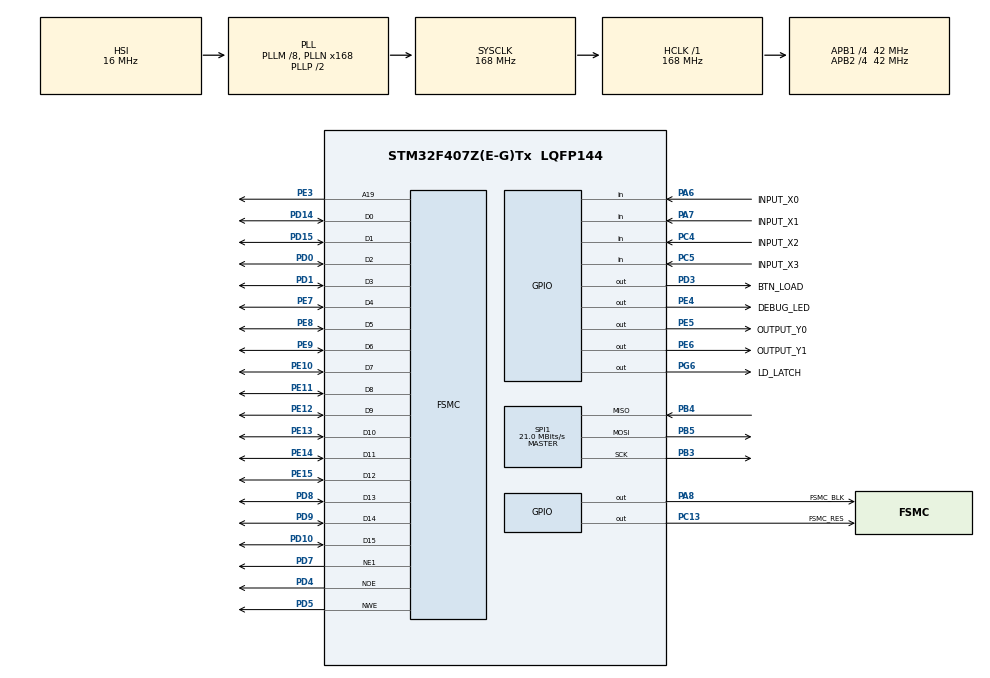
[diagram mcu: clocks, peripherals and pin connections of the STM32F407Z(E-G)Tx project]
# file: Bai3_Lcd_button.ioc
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FSMC.AddressSetupTime1=0xf
FSMC.BusTurnAroundDuration1=0
FSMC.DataSetupTime1=60
FSMC.ExtendedAddressSetupTime1=8
FSMC.ExtendedBusTurnAroundDuration1=0
FSMC.ExtendedDataSetupTime1=9
FSMC.ExtendedMode1=FSMC_EXTENDED_MODE_ENABLE
Mcu.Family=STM32F4
Mcu.Name=STM32F407Z(E-G)Tx
Mcu.Package=LQFP144
NVIC.PriorityGroup=NVIC_PRIORITYGROUP_4
NVIC.TIM2_IRQn=true\:0\:0\:false\:false\:true\:true\:true\:true
PA13.Mode=Serial_Wire
PA13.Signal=SYS_JTMS-SWDIO
PA14.Mode=Serial_Wire
PA14.Signal=SYS_JTCK-SWCLK
PA6.GPIO_Label=INPUT_X0
PA6.Signal=GPIO_Input
PA7.GPIO_Label=INPUT_X1
PA7.Signal=GPIO_Input
PA8.GPIO_Label=FSMC_BLK
PA8.Signal=GPIO_Output
PB3.Mode=Full_Duplex_Master
PB3.Signal=SPI1_SCK
PB4.Mode=Full_Duplex_Master
PB4.Signal=SPI1_MISO
PB5.Mode=Full_Duplex_Master
PB5.Signal=SPI1_MOSI
PC13-ANTI_TAMP.GPIO_Label=FSMC_RES
PC13-ANTI_TAMP.Signal=GPIO_Output
PC4.GPIO_Label=INPUT_X2
PC4.Signal=GPIO_Input
PC5.GPIO_Label=INPUT_X3
PC5.Signal=GPIO_Input
PD0.Signal=FSMC_D2_DA2
PD1.Signal=FSMC_D3_DA3
PD10.Signal=FSMC_D15_DA15
PD14.Signal=FSMC_D0_DA0
PD15.Signal=FSMC_D1_DA1
PD3.GPIO_Label=BTN_LOAD
PD3.Signal=GPIO_Output
PD4.Signal=FSMC_NOE
PD5.Signal=FSMC_NWE
PD7.Mode=NorPsramChipSelect1_1
PD7.Signal=FSMC_NE1
PD8.Signal=FSMC_D13_DA13
PD9.Signal=FSMC_D14_DA14
PE10.Signal=FSMC_D7_DA7
PE11.Signal=FSMC_D8_DA8
PE12.Signal=FSMC_D9_DA9
PE13.Signal=FSMC_D10_DA10
PE14.Signal=FSMC_D11_DA11
PE15.Signal=FSMC_D12_DA12
PE3.Signal=FSMC_A19
PE4.GPIO_Label=DEBUG_LED
PE4.Signal=GPIO_Output
PE5.GPIO_Label=OUTPUT_Y0
PE5.Signal=GPIO_Output
PE6.GPIO_Label=OUTPUT_Y1
PE6.Signal=GPIO_Output
PE7.Signal=FSMC_D4_DA4
PE8.Signal=FSMC_D5_DA5
PE9.Signal=FSMC_D6_DA6
PG6.GPIO_Label=LD_LATCH
PG6.Signal=GPIO_Output
PH0-OSC_IN.Mode=HSE-External-Oscillator
PH0-OSC_IN.Signal=RCC_OSC_IN
PH1-OSC_OUT.Mode=HSE-External-Oscillator
PH1-OSC_OUT.Signal=RCC_OSC_OUT
ProjectManager.HeapSize=0x200
ProjectManager.StackSize=0x400
ProjectManager.TargetToolchain=STM32CubeIDE
RCC.48MHZClocksFreq_Value=84000000
RCC.AHBFreq_Value=168000000
RCC.APB1CLKDivider=RCC_HCLK_DIV4
RCC.APB1Freq_Value=42000000
RCC.APB1TimFreq_Value=84000000
RCC.APB2CLKDivider=RCC_HCLK_DIV4
RCC.APB2Freq_Value=42000000
RCC.APB2TimFreq_Value=84000000
RCC.CortexFreq_Value=168000000
RCC.HCLKFreq_Value=168000000
RCC.HSE_VALUE=8000000
RCC.HSI_VALUE=16000000
RCC.LSE_VALUE=32768
RCC.PLLM=8
RCC.PLLN=168
RCC.SYSCLKFreq_VALUE=168000000
RCC.SYSCLKSource=RCC_SYSCLKSOURCE_PLLCLK
RCC.VCOOutputFreq_Value=336000000
SH.FSMC_A19.0=FSMC_A19,A19_1
SH.FSMC_D0_DA0.0=FSMC_D0,16b-d1
SH.FSMC_D10_DA10.0=FSMC_D10,16b-d1
SH.FSMC_D11_DA11.0=FSMC_D11,16b-d1
SH.FSMC_D12_DA12.0=FSMC_D12,16b-d1
SH.FSMC_D13_DA13.0=FSMC_D13,16b-d1
SH.FSMC_D14_DA14.0=FSMC_D14,16b-d1
SH.FSMC_D15_DA15.0=FSMC_D15,16b-d1
SH.FSMC_D1_DA1.0=FSMC_D1,16b-d1
SH.FSMC_D2_DA2.0=FSMC_D2,16b-d1
SH.FSMC_D3_DA3.0=FSMC_D3,16b-d1
SH.FSMC_D4_DA4.0=FSMC_D4,16b-d1
SH.FSMC_D5_DA5.0=FSMC_D5,16b-d1
SH.FSMC_D6_DA6.0=FSMC_D6,16b-d1
SH.FSMC_D7_DA7.0=FSMC_D7,16b-d1
SH.FSMC_D8_DA8.0=FSMC_D8,16b-d1
SH.FSMC_D9_DA9.0=FSMC_D9,16b-d1
SH.FSMC_NOE.0=FSMC_NOE,Lcd1
SH.FSMC_NWE.0=FSMC_NWE,Lcd1
SPI1.BaudRatePrescaler=SPI_BAUDRATEPRESCALER_2
SPI1.CalculateBaudRate=21.0 MBits/s
SPI1.Direction=SPI_DIRECTION_2LINES
SPI1.Mode=SPI_MODE_MASTER
SPI1.VirtualType=VM_MASTER
TIM2.Period=100-1
TIM2.Prescaler=840-1
VP_TIM2_VS_ClockSourceINT.Mode=Internal
board=custom

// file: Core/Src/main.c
/* USER CODE BEGIN Header */
/**
  ******************************************************************************
  * @file           : main.c
  * @brief          : Main program body
  ******************************************************************************
  * @attention
  *
  * <h2><center>&copy; Copyright (c) 2023 STMicroelectronics.
  * All rights reserved.</center></h2>
  *
  * This software component is licensed by ST under BSD 3-Clause license,
  * the "License"; You may not use this file except in compliance with the
  * License. You may obtain a copy of the License at:
  *                        opensource.org/licenses/BSD-3-Clause
  *
  ******************************************************************************
  */
/* USER CODE END Header */
#include "main.h"
#include "spi.h"
#include "tim.h"
#include "gpio.h"
#include "fsmc.h"

/* USER CODE BEGIN Includes */
#include "software_timer.h"
#include "led_7seg.h"
#include "button.h"
#include "lcd.h"
#include "picture.h"
#include "global.h"
#include "fsm_simple_buttons_run.h"
/* USER CODE END Includes */

void SystemClock_Config(void);
/* USER CODE BEGIN PFP */
void system_init();
void test_LedDebug();
void test_LedY0();
void test_LedY1();
void test_7seg();
void test_button();
void test_lcd();
void test_leftSet();
void test_rightSet();
void change_mode();
void mode2();
/* USER CODE END PFP */

uint8_t mode = 0;
uint8_t red_seconds = 5;
uint8_t green_seconds = 3;
uint8_t yellow_seconds = 1;
int main(void)
{

  /* MCU Configuration--------------------------------------------------------*/

  /* Reset of all peripherals, Initializes the Flash interface and the Systick. */
  HAL_Init();

  /* Configure the system clock */
  SystemClock_Config();

  /* Initialize all configured peripherals */
  MX_GPIO_Init();
  MX_TIM2_Init();
  MX_SPI1_Init();
  MX_FSMC_Init();
  /* USER CODE BEGIN 2 */
  system_init();
  lcd_Clear(WHITE);
//  test_lcd();
  /* USER CODE END 2 */

  /* Infinite loop */
  /* USER CODE BEGIN WHILE */

  while (1)
  {
	  while(!flag_timer2);
	  flag_timer2 = 0;
	  fsm_simple_buttons_run();

// 	  test_button();
// //	  test_LedDebug();
// //	  test_LedY0();
// //	  test_LedY1();
// 	  if(mode == 0){

// 		  test_leftSet();
// //		  test_rightSet();
// 	  }
// 	  if(mode == 1){
// 		  mode2();
// 	  }
//	  test_7seg();
//	  if(button_count[0]%40 == 1)
//	  {
//		  HAL_GPIO_TogglePin(DEBUG_LED_GPIO_Port, DEBUG_LED_Pin);
//	  }
    /* USER CODE END WHILE */

  }
}

void SystemClock_Config(void)
{
  RCC_OscInitTypeDef RCC_OscInitStruct = {0};
  RCC_ClkInitTypeDef RCC_ClkInitStruct = {0};

  /** Configure the main internal regulator output voltage
  */
  __HAL_RCC_PWR_CLK_ENABLE();
  __HAL_PWR_VOLTAGESCALING_CONFIG(PWR_REGULATOR_VOLTAGE_SCALE1);
  /** Initializes the RCC Oscillators according to the specified parameters
  * in the RCC_OscInitTypeDef structure.
  */
  RCC_OscInitStruct.OscillatorType = RCC_OSCILLATORTYPE_HSI;
  RCC_OscInitStruct.HSIState = RCC_HSI_ON;
  RCC_OscInitStruct.HSICalibrationValue = RCC_HSICALIBRATION_DEFAULT;
  RCC_OscInitStruct.PLL.PLLState = RCC_PLL_ON;
  RCC_OscInitStruct.PLL.PLLSource = RCC_PLLSOURCE_HSI;
  RCC_OscInitStruct.PLL.PLLM = 8;
  RCC_OscInitStruct.PLL.PLLN = 168;
  RCC_OscInitStruct.PLL.PLLP = RCC_PLLP_DIV2;
  RCC_OscInitStruct.PLL.PLLQ = 4;
  if (HAL_RCC_OscConfig(&RCC_OscInitStruct) != HAL_OK)
  {
    Error_Handler();
  }
  /** Initializes the CPU, AHB and APB buses clocks
  */
  RCC_ClkInitStruct.ClockType = RCC_CLOCKTYPE_HCLK|RCC_CLOCKTYPE_SYSCLK
                              |RCC_CLOCKTYPE_PCLK1|RCC_CLOCKTYPE_PCLK2;
  RCC_ClkInitStruct.SYSCLKSource = RCC_SYSCLKSOURCE_PLLCLK;
  RCC_ClkInitStruct.AHBCLKDivider = RCC_SYSCLK_DIV1;
  RCC_ClkInitStruct.APB1CLKDivider = RCC_HCLK_DIV4;
  RCC_ClkInitStruct.APB2CLKDivider = RCC_HCLK_DIV4;

  if (HAL_RCC_ClockConfig(&RCC_ClkInitStruct, FLASH_LATENCY_5) != HAL_OK)
  {
    Error_Handler();
  }
}

/* USER CODE BEGIN 4 */
void system_init(){
	  HAL_GPIO_WritePin(OUTPUT_Y0_GPIO_Port, OUTPUT_Y0_Pin, 0);
	  HAL_GPIO_WritePin(OUTPUT_Y1_GPIO_Port, OUTPUT_Y1_Pin, 0);
	  HAL_GPIO_WritePin(DEBUG_LED_GPIO_Port, DEBUG_LED_Pin, 0);
	  timer_init();
	  led7_init();
	  button_init();
	  lcd_init();
	  setTimer2(50);
}

uint8_t count_led_debug = 0;
uint8_t count_led_Y0 = 0;
uint8_t count_led_Y1 = 0;
int count_left = 0;
uint8_t count_right = 0;
uint8_t left_status = 0;
uint8_t count_red_editing = 0;

void test_LedDebug(){
	count_led_debug = (count_led_debug + 1)%20;
	if(count_led_debug == 0){
		HAL_GPIO_TogglePin(DEBUG_LED_GPIO_Port, DEBUG_LED_Pin);
	}
}

void test_LedY0(){
	count_led_Y0 = (count_led_Y0+ 1)%100;
	if(count_led_Y0 > 40){
		HAL_GPIO_WritePin(OUTPUT_Y0_GPIO_Port, OUTPUT_Y0_Pin, 1);
	} else {
		HAL_GPIO_WritePin(OUTPUT_Y0_GPIO_Port, OUTPUT_Y0_Pin, 0);
	}
}

void test_LedY1(){
	count_led_Y1 = (count_led_Y1+ 1)%40;
	if(count_led_Y1 > 10){
		HAL_GPIO_WritePin(OUTPUT_Y1_GPIO_Port, OUTPUT_Y1_Pin, 0);
	} else {
		HAL_GPIO_WritePin(OUTPUT_Y0_GPIO_Port, OUTPUT_Y1_Pin, 1);
	}
}

void test_7seg(){
	led7_SetDigit(0, 0, 0);
	led7_SetDigit(5, 1, 0);
	led7_SetDigit(4, 2, 0);
	led7_SetDigit(7, 3, 0);
}
void test_button(){
	for(int i = 0; i < 16; i++){
		if(button_count[i] == 1){
//			change_mode();
			lcd_ShowIntNum(140, 105, i, 2, BRED, WHITE, 32);
			if (i > 9)
			{
				led7_SetDigit(1, 0, 0);
				led7_SetDigit(i%10, 1, 0);
			}
			else{
				led7_SetDigit(0, 0, 0);
				led7_SetDigit(i, 1, 0);
			}
		}
	}
}
void test_lcd(){
	lcd_Fill(0, 0, 240, 20, BLUE);
	lcd_StrCenter(0, 2, "Hello World !!!", RED, BLUE, 16, 1);
//	lcd_ShowStr(20, 30, "Test lcd screen", WHITE, RED, 24, 0);
	lcd_DrawCircle(60, 120, GREEN, 20, 1);
	lcd_DrawCircle(160, 120, RED, 20, 1);
	lcd_DrawCircle(60, 200, GREEN, 20, 1);
	lcd_DrawCircle(160, 200, RED, 20, 1);
	lcd_DrawCircle(60, 280, GREEN, 20, 1);
	lcd_DrawCircle(160, 280, RED, 20, 1);
//	lcd_ShowPicture(80, 200, 90, 90, gImage_logo);
}

void test_leftSet()
{
	int total_time_count = red_seconds*20 + green_seconds*20 + yellow_seconds*20;
	int red_count = red_seconds*20;
	int green_count = green_seconds*20;
	lcd_ShowIntNum(160, 2, red_count, 4, BRED, WHITE, 32);
	lcd_ShowIntNum(100, 2, total_time_count, 4, BRED, WHITE, 32);

	count_left = (count_left + 1) % total_time_count;
	lcd_ShowIntNum(50, 2, count_left, 4, BRED, WHITE, 32);
	if(count_left < red_count)
	{
		lcd_DrawCircle(60, 200, WHITE, 20, 1);
		lcd_DrawCircle(60, 120, RED, 20, 1);
		lcd_DrawCircle(60, 200, YELLOW, 20, 0);
		lcd_DrawCircle(60, 280, GREEN, 20, 0);
		return;
	}
	if(count_left >= red_count && count_left < (red_count + green_count)){
		lcd_DrawCircle(60, 120, WHITE, 20, 1);
		lcd_DrawCircle(60, 120, RED, 20, 0);
		lcd_DrawCircle(60, 200, YELLOW, 20, 0);
		lcd_DrawCircle(60, 280, GREEN, 20, 1);
		return;
	}
	lcd_DrawCircle(60, 280, WHITE, 20, 1);
	lcd_DrawCircle(60, 120, RED, 20, 0);
	lcd_DrawCircle(60, 200, YELLOW, 20, 1);
	lcd_DrawCircle(60, 280, GREEN, 20, 0);
}

void test_rightSet()
{
	uint8_t total_time_count = red_seconds*20 + green_seconds*20 + yellow_seconds*20;
		uint8_t green_count = green_seconds*20;
		uint8_t yellow_count = yellow_seconds*20;
		count_right = (count_right + 1) % total_time_count;
		if(count_right < green_count)
		{
			lcd_DrawCircle(160, 120, WHITE, 20, 1);
			lcd_DrawCircle(160, 120, RED, 20, 0);
			lcd_DrawCircle(160, 200, YELLOW, 20, 0);
			lcd_DrawCircle(160, 280, GREEN, 20, 1);
			return;
		}
		if(count_right >= green_count && count_right < (green_count + yellow_count)){
			lcd_DrawCircle(160, 280, WHITE, 20, 1);
			lcd_DrawCircle(160, 120, RED, 20, 0);
			lcd_DrawCircle(160, 200, YELLOW, 20, 1);
			lcd_DrawCircle(160, 280, GREEN, 20, 0);
			return;
		}
		lcd_DrawCircle(160, 200, WHITE, 20, 1);
		lcd_DrawCircle(160, 120, RED, 20, 1);
		lcd_DrawCircle(160, 200, YELLOW, 20, 0);
		lcd_DrawCircle(160, 280, GREEN, 20, 0);
}

void change_mode(){
	mode = (mode + 1)%4;
	if(mode == 0){
			count_left = 0;
			count_right = 0;
	}
	if(mode == 1){
		lcd_DrawCircle(60, 200, WHITE, 20, 1);
		lcd_DrawCircle(60, 120, WHITE, 20, 1);
		lcd_DrawCircle(60, 280, WHITE, 20, 1);
		lcd_DrawCircle(160, 120, WHITE, 20, 1);
		lcd_DrawCircle(160, 200, WHITE, 20, 1);
		lcd_DrawCircle(160, 280, WHITE, 20, 0);
		editing_red_seconds = red_seconds;
	}
}

//void mode2(){
//	count_red_editing = (count_red_editing+1)%10;
//	if(count_red_editing == 5){
//		lcd_DrawCircle(160, 120, RED, 20, 1);
//		lcd_DrawCircle(60, 120, RED, 20, 1);
//	}
//	if(count_red_editing == 0){
//			lcd_DrawCircle(160, 120, WHITE, 20, 0);
//			lcd_DrawCircle(60, 120, WHITE, 20, 0);
//		}
//
//	if(button_count[1] == 1){
//		if(editing_red_seconds == 99) editing_red_seconds = 1;
//		else editing_red_seconds++;
//	}
//	if(button_count[2] == 1){
//		red_seconds = editing_red_seconds;
//	}
//	lcd_ShowIntNum(0, 2, editing_red_seconds, 2, BRED, WHITE, 32);
//}
/* USER CODE END 4 */

void Error_Handler(void)
{
  __disable_irq();
  while (1)
  {
  }
}

/************************ (C) COPYRIGHT STMicroelectronics *****END OF FILE****/
